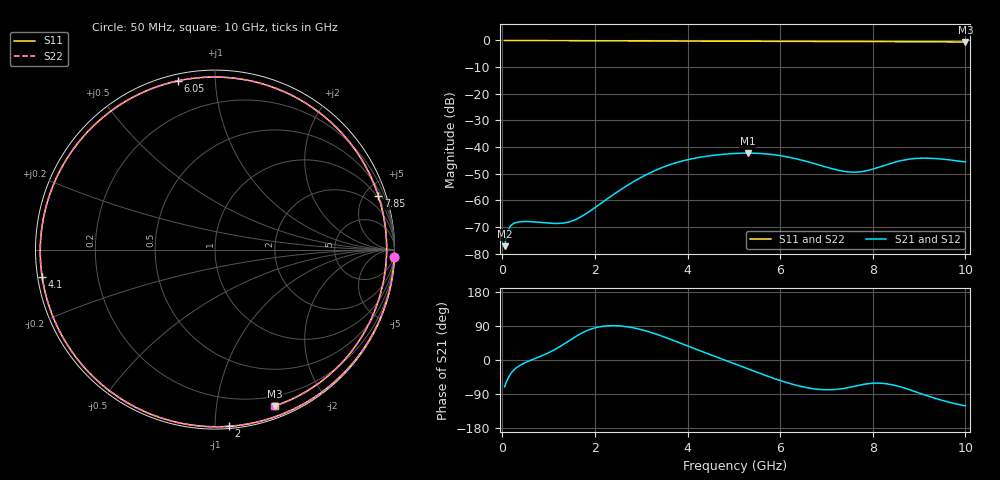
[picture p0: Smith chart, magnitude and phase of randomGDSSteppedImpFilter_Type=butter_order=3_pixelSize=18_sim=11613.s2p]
! freq	dB(S11)	phase(S11)	dB(S12)	phase(S12)
!  dB(S21)	phase(S21)	dB(S22)	phase(S22)
!S-par simulation data
#  GHz  S  DB  R 50
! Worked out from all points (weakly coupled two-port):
!   200 points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, 50 MHz to 10 GHz, reference 50 ohm
!   highest |S21| = -42.26 dB at 5.3 GHz (marker M1); lowest = -77.2 dB at 50 MHz (marker M2)
!   lowest |S11| = -0.6 dB at 10 GHz (marker M3), VSWR 28.82, Z = 5.39 - j72.5 ohm
!   |S11| at or under -10 dB: nowhere
!   |S22| runs from -0.6 to 0.0 dB; largest |S21 - S12| = 0
!   S11 on the Smith chart (normalised r, x): 50 MHz: 0, -52; 2 GHz: 0.01, -1.08; 4.1 GHz: 0.01, -0.08; 6.05 GHz: 0.03, +0.80; 7.85 GHz: 0.85, +6.17; 10 GHz: 0.11, -1.45
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0.05  -0.00 -2.2  -77.17 -70.6  -77.17 -70.6  -0.00 -2.2
0.1  -0.00 -4.4  -72.31 -54.4  -72.31 -54.4  -0.00 -4.4
0.15  -0.00 -6.6  -70.23 -42.3  -70.23 -42.3  -0.00 -6.6
0.25  -0.01 -11.0  -68.61 -26.3  -68.61 -26.3  -0.01 -11.0
0.65  -0.03 -28.5  -68.01 1.0  -68.01 1.0  -0.03 -28.5
1.05  -0.06 -45.7  -68.58 22.1  -68.58 22.1  -0.06 -45.7
1.4  -0.08 -60.6  -68.25 47.5  -68.25 47.5  -0.08 -60.6
1.75  -0.09 -75.2  -65.62 73.3  -65.62 73.3  -0.09 -75.2
2  -0.11 -85.6  -62.71 84.8  -62.71 84.8  -0.11 -85.6
2.65  -0.14 -112.1  -54.93 88.5  -54.93 88.5  -0.14 -112.1
3.4  -0.18 -142.5  -48.02 65.0  -48.02 65.0  -0.18 -142.5
4.1  -0.22 -171.1  -44.37 32.4  -44.37 32.4  -0.22 -171.2
4.6  -0.25 167.8  -43.01 9.1  -43.01 9.1  -0.25 167.7
5.05  -0.28 148.2  -42.37 -11.5  -42.37 -11.5  -0.28 148.1
5.3  -0.29 137.0  -42.26 -23.1  -42.26 -23.1  -0.29 137.0
6.05  -0.33 102.5  -43.35 -56.1  -43.35 -56.1  -0.33 102.4
6.7  -0.35 71.6  -46.01 -75.4  -46.01 -75.4  -0.35 71.5
7.3  -0.36 43.3  -48.86 -76.4  -48.86 -76.4  -0.36 43.1
7.85  -0.37 18.1  -48.92 -63.3  -48.92 -63.3  -0.37 17.9
8.35  -0.39 -3.8  -46.31 -63.7  -46.31 -63.7  -0.39 -3.9
9.1  -0.45 -34.5  -44.15 -91.3  -44.15 -91.3  -0.45 -34.6
10  -0.60 -69.0  -45.57 -121.1  -45.57 -121.1  -0.60 -69.2
